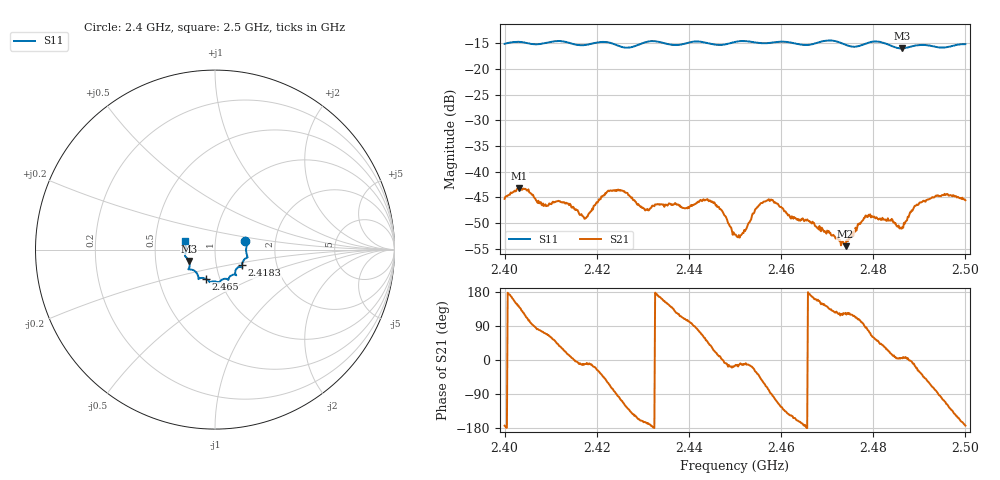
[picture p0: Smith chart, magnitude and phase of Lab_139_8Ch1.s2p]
# Hz S RI R 50
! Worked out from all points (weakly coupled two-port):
!   601 points, 2.4 GHz to 2.5 GHz, reference 50 ohm
!   highest |S21| = -43.25 dB at 2.4032 GHz (marker M1); lowest = -54.5 dB at 2.474 GHz (marker M2)
!   lowest |S11| = -16.0 dB at 2.4862 GHz (marker M3), VSWR 1.37, Z = 37.1 - j4.82 ohm
!   |S11| at or under -10 dB: start of sweep to end of sweep
!   S12 and S22 are empty: the file has one direction only
!   S11 on the Smith chart (normalised r, x): 2.4 GHz: 1.40, +0.13; 2.4183 GHz: 1.33, -0.24; 2.465 GHz: 0.86, -0.29; 2.5 GHz: 0.71, +0.07
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2.4e9  0.1688 0.046  -0.0054 -0.000622  0 0  0 0
2.403167e9  0.18 0.0318  -0.00521 0.00448  0 0  0 0
2.416667e9  0.155 -0.0682  0.00379 -0.000768  0 0  0 0
2.418333e9  0.1499 -0.0869  0.00389 -0.000615  0 0  0 0
2.423e9  0.1491 -0.098  0.00221 -0.0062  0 0  0 0
2.426167e9  0.1242 -0.1021  -0.00316 -0.0054  0 0  0 0
2.430833e9  0.1162 -0.1411  -0.00413 -0.00105  0 0  0 0
2.433333e9  0.1169 -0.1412  -0.00473 0.000836  0 0  0 0
2.4445e9  0.0651 -0.1633  0.00405 0.00336  0 0  0 0
2.447e9  0.0434 -0.165  0.00425 0.000274  0 0  0 0
2.45e9  0.0253 -0.1807  0.00236 -0.000641  0 0  0 0
2.4515e9  0.0219 -0.1849  0.00241 -0.000538  0 0  0 0
2.456833e9  -0.00836 -0.1771  0.00175 -0.00492  0 0  0 0
2.465e9  -0.0528 -0.1621  -0.00328 -0.000384  0 0  0 0
2.466667e9  -0.0713 -0.1576  -0.00305 0.000697  0 0  0 0
2.474e9  -0.0956 -0.1423  -0.00106 0.00156  0 0  0 0
2.4785e9  -0.138 -0.1106  0.000252 0.00372  0 0  0 0
2.483333e9  -0.1421 -0.0959  0.00307 0.00132  0 0  0 0
2.486167e9  -0.1446 -0.0634  0.00278 0.000266  0 0  0 0
2.4905e9  -0.167 -0.0352  0.00404 -0.00303  0 0  0 0
2.495667e9  -0.1612 0.0125  -0.00213 -0.00552  0 0  0 0
2.5e9  -0.1671 0.0472  -0.00523 -0.000625  0 0  0 0
